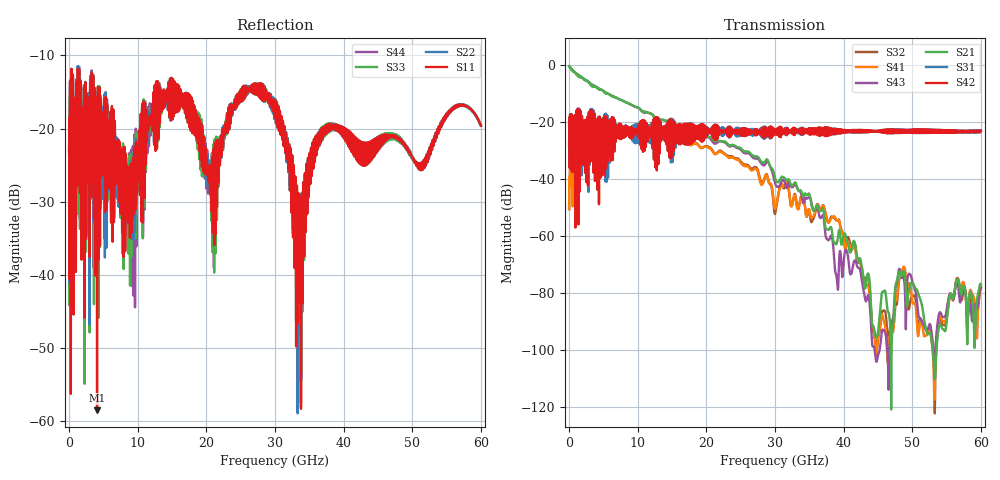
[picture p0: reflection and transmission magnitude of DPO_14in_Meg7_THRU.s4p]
! Tyco Electronics Strada Whisper System
! THRU_G1112
!! SYSTEM DESCRIPTION: Daughtercard-Footprint-Connector-Footprint-Daughtercard
!! PCB DESCRIPTION: DC: 140mil, Megtron7N, upper layer route, 15mil stub, 6-6-6mil 14" traces
!! CONNECTOR DESCRIPTION: Next-Gen STRADA Whisper Direct-Plug Orthogonal Connector
!! MODEL DESCRIPTION: Tyco Electronics System 4-port S-parameter
!! MODEL STATUS: Developmental
!! MODEL GEOMETRY: Channel Model
!! MODEL FREQUENCY RANGE: DC to 60 GHz in 10 MHz frequency steps
!! MODEL EDGE RATE LIMITATION: 8.3 ps (Using conservative 0.5/Fmax rule of thumb)
!! TIME-DOMAIN TRANSFORM CAUTIONS:
!! 1.) Do not simulate transient edge rates faster than the number listed above.  Edge rates faster than this number
!!  contain significant spectral content at frequencies above the model's highest frequency.
!! 2.) Even when simulating edge rates that are slower than the number listed above, be aware that the best time
!!  resolution possible with a direct iFFT is (1 / 2Fmax).  As a result, time resolution is typically not adequate
!!  for most time-domain simulations unless tricks such as windowing are used to minimize leakage and aliasing.
!! 3.) Because the model has a uniform frequency step, a direct iFFT will result in an impulse that that has a time
!!  length given by either (1 / Fstep) or (1 / 2Fstep), depending on the transform being used.  Care has been taken
!!  in selecting the frequency step to ensure a settled impulse response for the model.  Therefore, convolution with
!!  the model's impulse response should present no issues.  However, if directly concatenating s-parameter models
!!  in the frequency domain a user must either interpolate necessary interim frequencies or complete impulse response
!!  zero-padding.  Impulse response zero-padding is more difficult, but more accurate.
!! PORT DEFINITIONS:
!! Port  1  ----->  TX Side  G11  RX Side  <-----  Port  2
!! Port  3  ----->  TX Side  G12  RX Side  <-----  Port  4
! Touchstone data
! Created: 10-Dec-2018 by IdEM R2012 (8.0.5)
# Hz S MA R 50
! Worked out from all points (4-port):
!   6000 points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, 10 MHz to 60 GHz, reference 50 ohm
!   strongest paths, dB at 10 MHz, 15.01 GHz, 30.01 GHz, 45.01 GHz, 60 GHz:
!     S42: -28.4, -30.5, -23.0, -23.2, -23.2
!     S31: -28.4, -22.3, -23.0, -23.2, -23.1
!     S21: -0.6, -22.2, -39.8, -93.9, -77.0
!     S43: -0.6, -22.1, -41.6, -102.0, -78.1
!     S41: -50.7, -27.4, -50.5, -96.5, -77.6
!     S32: -50.7, -27.5, -52.4, -96.2, -78.5
!   lowest |S11| = -58.6 dB at 4.08 GHz (marker M1), VSWR 1.00, Z = 50.1 + j0.0138 ohm
!   |S11| at or under -10 dB: start of sweep to end of sweep
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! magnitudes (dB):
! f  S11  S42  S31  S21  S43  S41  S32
! 10 MHz  -23.2  -28.4  -28.4  -0.6  -0.6  -50.7  -50.7
! 4.08 GHz  -58.6  -20.3  -33.4  -8.0  -8.0  -22.8  -22.7
! 28.99 GHz  -15.6  -23.0  -23.0  -33.7  -34.0  -40.6  -39.9
! 33.55 GHz  -43.9  -24.0  -24.2  -44.2  -44.4  -49.1  -49.4
! 38.99 GHz  -19.9  -23.2  -23.5  -62.8  -74.6  -54.7  -54.7
! 44.02 GHz  -22.2  -23.3  -23.2  -86.0  -92.4  -88.0  -88.1
! 60 GHz  -19.6  -23.2  -23.1  -77.0  -78.1  -77.6  -78.5
